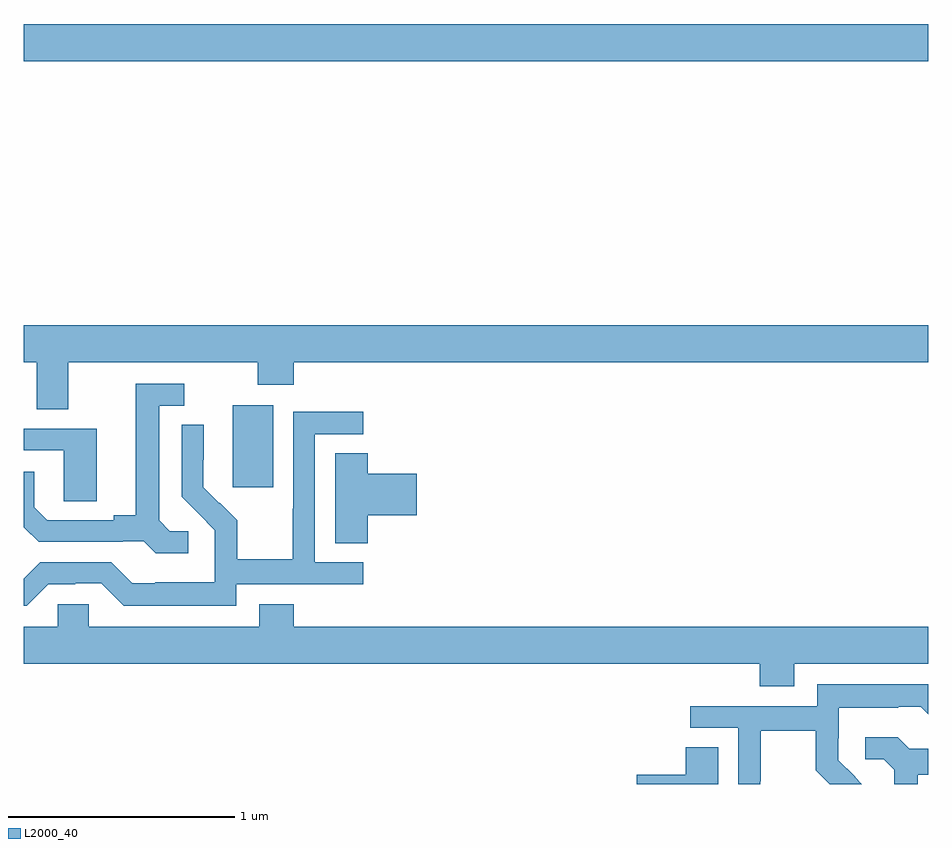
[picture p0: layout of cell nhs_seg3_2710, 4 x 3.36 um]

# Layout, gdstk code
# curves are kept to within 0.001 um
import gdstk
lib = gdstk.Library(unit=1e-6, precision=1e-09)
def R(c, l, rs):  # rectangles x0, y0, x1, y1
    for r in rs: c.add(gdstk.rectangle(r[:2], r[2:], *l))
def P(c, l, *ps):  # polygons
    for p in ps: c.add(gdstk.Polygon(p, *l))
L2000_40 = (2000, 40)

nhs_seg3_2710 = lib.new_cell('nhs_seg3_2710')
R(nhs_seg3_2710, L2000_40, [(251.924,685.713,252.103,686.074), (251,687.596,255,687.76)])
P(nhs_seg3_2710, L2000_40, [(251.197,686.264),(252.034,686.264),(252.034,686.165),(252.194,686.165),(252.194,686.264),(255,686.264),(255,686.428),(251,686.428),(251,686.264),(251.057,686.264),(251.057,686.056),(251.197,686.056)],
  [(251.728,685.518),(251.646,685.518),(251.599,685.565),(251.599,686.073),(251.71,686.073),(251.71,686.169),(251.495,686.169),(251.495,685.589),(251.399,685.589),(251.399,685.566),(251.104,685.566),(251.047,685.623),(251.047,685.78),(251,685.78),(251,685.536),(251.066,685.47),(251.438,685.47),(251.438,685.473),(251.532,685.473),(251.584,685.421),(251.728,685.421)],
  [(251.94,685.284),(252.502,685.284),(252.502,685.38),(252.288,685.38),(252.288,685.947),(252.502,685.947),(252.502,686.046),(252.192,686.046),(252.192,685.616),(252.19,685.616),(252.19,685.393),(251.945,685.393),(251.945,685.567),(251.868,685.644),(251.865,685.641),(251.795,685.712),(251.796,685.988),(251.7,685.988),(251.7,685.67),(251.846,685.522),(251.846,685.425),(251.844,685.425),(251.844,685.291),(251.581,685.291),(251.581,685.287),(251.481,685.287),(251.388,685.38),(251.073,685.38),(251,685.307),(251,685.188),(251.013,685.188),(251.109,685.284),(251.228,685.284),(251.228,685.287),(251.343,685.287),(251.443,685.187),(251.94,685.187)],
  [(251.323,685.971),(251,685.971),(251,685.875),(251.178,685.875),(251.178,685.651),(251.323,685.651)],
  [(252.521,685.589),(252.739,685.589),(252.739,685.772),(252.521,685.772),(252.521,685.862),(252.377,685.862),(252.377,685.465),(252.521,685.465)],
  [(254.255,684.833),(254.407,684.833),(254.407,684.932),(255,684.932),(255,685.096),(252.194,685.096),(252.194,685.195),(252.041,685.195),(252.041,685.096),(251.289,685.096),(251.289,685.194),(251.151,685.194),(251.151,685.096),(251,685.096),(251,684.932),(254.255,684.932)],
  [(254.256,684.412),(254.259,684.412),(254.259,684.636),(254.503,684.636),(254.503,684.461),(254.564,684.4),(254.706,684.4),(254.602,684.506),(254.602,684.603),(254.604,684.603),(254.604,684.737),(254.867,684.737),(254.867,684.741),(254.967,684.741),(255,684.708),(255,684.841),(254.508,684.841),(254.508,684.744),(253.947,684.744),(253.947,684.648),(254.16,684.648),(254.16,684.4),(254.256,684.4)],
  [(254.953,684.44),(255,684.44),(255,684.555),(254.916,684.555),(254.864,684.607),(254.721,684.607),(254.721,684.51),(254.802,684.51),(254.849,684.463),(254.849,684.4),(254.953,684.4)],
  [(254.071,684.563),(253.928,684.563),(253.928,684.44),(253.71,684.44),(253.71,684.4),(254.071,684.4)])

lib.write_gds('nhs_seg3_2710.gds')
